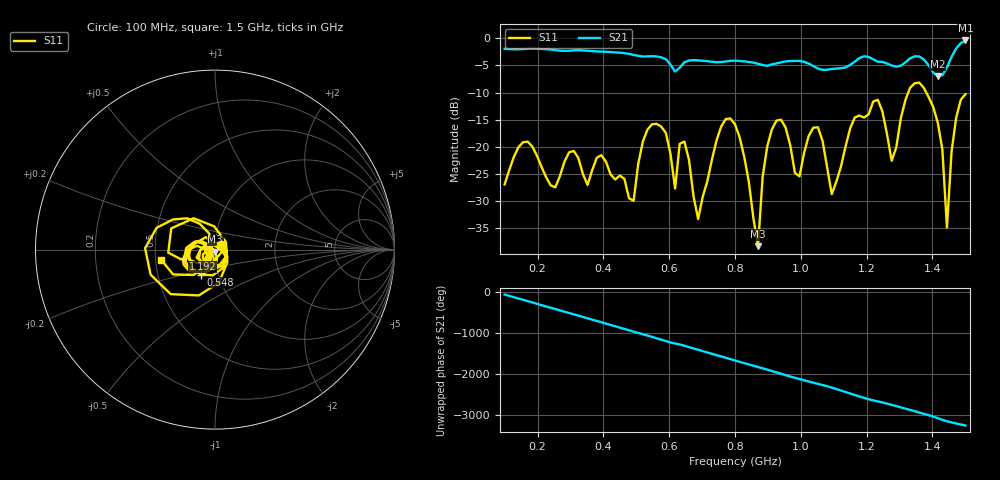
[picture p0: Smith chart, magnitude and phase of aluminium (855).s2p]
! NanoVNA-App
! Date: 2025-09-25 15:01:56
! Start: 100MHz Stop: 1,5GHz Points: 101
! S-Parameter data: F S11 S21 S12 S22
# Hz S RI R 50
!  Frequency  S11_Real  S11_Imag  S21_Real  S21_Imag  S12_Real  S12_Imag  S22_Real  S22_Imag
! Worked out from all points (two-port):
!   101 points, 100 MHz to 1.5 GHz, reference 50 ohm
!   highest |S21| = -0.39 dB at 1.5 GHz (marker M1); lowest = -7.0 dB at 1.416 GHz (marker M2)
!   |S21| within 3 dB of the highest: start of sweep to 566.1 MHz; 1.458 GHz to end of sweep (the widest 2 of 4)
!   lowest |S11| = -38.4 dB at 870 MHz (marker M3), VSWR 1.02, Z = 50 - j1.21 ohm
!   |S11| at or under -10 dB: start of sweep to 1.326 GHz; 1.381 GHz to end of sweep
!   S12 and S22 are empty: the file has one direction only
!   S11 on the Smith chart (normalised r, x): 100 MHz: 1.07, +0.06; 548 MHz: 0.82, -0.23; 1.192 GHz: 0.69, -0.07; 1.5 GHz: 0.54, -0.07
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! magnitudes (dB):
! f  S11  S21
! 100 MHz  -27.0  -1.9
! 156 MHz  -19.2  -2.0
! 338 MHz  -25.1  -2.2
! 492 MHz  -30.0  -3.1
! 548 MHz  -15.9  -3.3
! 576 MHz  -16.3  -3.5
! 618 MHz  -27.7  -6.1
! 646 MHz  -19.0  -4.4
! 688 MHz  -33.4  -4.1
! 800 MHz  -15.9  -4.1
! 870 MHz  -38.4  -4.7
! 912 MHz  -16.8  -4.8
! 996 MHz  -25.5  -4.2
! 1.038 GHz  -16.5  -5.1
! 1.094 GHz  -28.8  -5.7
! 1.192 GHz  -14.6  -3.3
! 1.276 GHz  -22.6  -5.0
! 1.346 GHz  -8.3  -3.3
! 1.416 GHz  -15.5  -7.0
! 1.444 GHz  -34.9  -5.4
! 1.472 GHz  -14.7  -1.9
! 1.5 GHz  -10.3  -0.4
